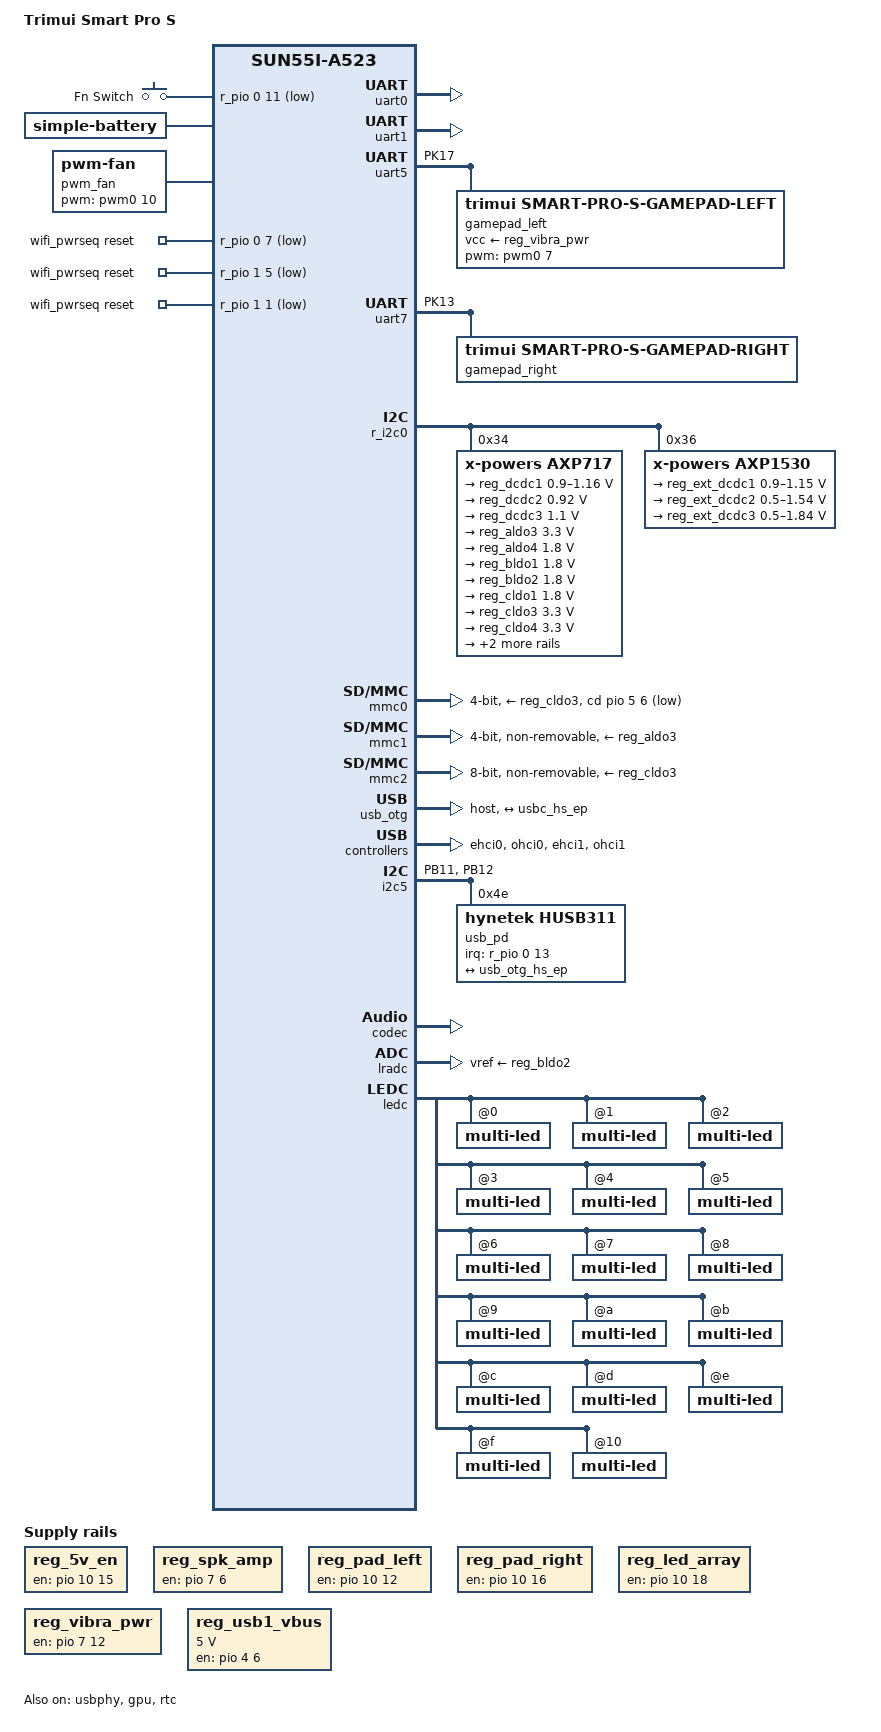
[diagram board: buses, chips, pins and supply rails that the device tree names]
// SPDX-License-Identifier: (GPL-2.0-only OR MIT)
// Copyright (C) 2026 Midgy BALON
/*
 * Trimui Smart Pro S handheld (board "A523-PRO2-AXP717C").
 * SoC: Allwinner A523 (sun55iw3p1). Base: mainline sun55i-a523.dtsi.
 *
 * WORK IN PROGRESS. Modeled on the upstream sun55i-t527-avaota-a1.dts (same SoC
 * family). Built with the display series in kernel/patches/ applied and
 * trimui-panel.dtsi appended (see kernel/build-trimui-kernel.sh).
 *
 * On board now: PMIC (axp717 @0x34 + axp1530 @0x36) + regulators, storage
 * (microSD/eMMC), USB2, RTC, LEDC RGB array, GPU (Mali-G57 / Panfrost, upstream),
 * MIPI-DSI panel + PWM backlight (via patches), fan + vibrator (PWM), audio codec,
 * LRADC side keys, WiFi/BT power sequencing (AIC8800D80, out-of-tree module), and
 * the gamepad UARTs (uart5/uart7 MCUs — the whole pad incl. sticks, read by the
 * trimui_inputd daemon; NOT GPADC, confirmed on HW). Still pending: USB3 (draft in
 * dts/staging/). See PORTING-NOTES.md and docs/ON-DEVICE-FINDINGS.md.
 *
 * "VERIFY" = needs confirmation by i2c/dump on real hardware before trusting.
 * Rail->consumer map is derived from the vendor DTB where known and otherwise
 * mirrors Avaota A1; the exact Trimui map must be read from the device.
 */

/dts-v1/;

#include "sun55i-a523.dtsi"

#include <dt-bindings/gpio/gpio.h>
#include <dt-bindings/input/input.h>
#include <dt-bindings/interrupt-controller/irq.h>
#include <dt-bindings/leds/common.h>
#include <dt-bindings/pwm/pwm.h>

/ {
	model = "Trimui Smart Pro S";
	/* T527 is the same die as A523; A523 is what mainline carries. */
	compatible = "trimui,smart-pro-s", "allwinner,sun55i-a523";

	aliases {
		serial0 = &uart0;
		mmc0 = &mmc0;	/* microSD */
		mmc1 = &mmc1;	/* WiFi SDIO */
		mmc2 = &mmc2;	/* eMMC */
	};

	chosen {
		stdout-path = "serial0:115200n8";
	};

	/*
	 * Fn switch — a 2-position slide switch on PL11 (the vendor's "dip-switch",
	 * gpio363; trimui_inputd reads it). Drives both levels cleanly: reads 1 in
	 * one position, 0 in the other (HW-verified 2026-09-25 via MMIO). Reported
	 * as KEY_FN, asserted in the low position. (Home/Vol± are LRADC side-keys;
	 * power is the AXP717 PEK — neither is here.)
	 */
	gpio-keys {
		compatible = "gpio-keys";

		fn-switch {
			label = "Fn Switch";
			linux,code = <KEY_FN>;
			gpios = <&r_pio 0 11 GPIO_ACTIVE_LOW>;
		};
	};

	/*
	 * LiPo pack, 5000 mAh. Values from the vendor DTB: battery-cap 0x1388 =
	 * 5000 mAh, init-chgvol 0x1068 = 4.2 V CV, runtime-chgcur 0x3e8 = 1 A
	 * (the vendor bumps to ~1.95 A in suspend/shutdown). The AXP717 has a
	 * hardware fuel gauge (E-gauge) that reports charge % directly, so mainline's
	 * axp717 battery driver reads SoC from hardware and consumes only the
	 * charge-current + voltage limits below — the vendor's 32-point OCV curve
	 * (pmu_bat_para1..32) is not needed by mainline (kept in FIRMWARE-FINDINGS).
	 * VERIFY the design-min and capacity against the device.
	 */
	battery: battery {
		compatible = "simple-battery";
		voltage-min-design-microvolt = <3400000>;		/* VERIFY */
		voltage-max-design-microvolt = <4200000>;		/* vendor CV = 4.2 V */
		constant-charge-current-max-microamp = <1000000>;	/* 1 A runtime */
		charge-full-design-microamp-hours = <5000000>;		/* 5000 mAh */
	};

	/*
	 * Active cooling fan on PWM0 channel 10 / PB6 (vendor: 40 us period,
	 * inverted, 32 levels). #cooling-cells lets a thermal zone bind it once
	 * the A523 THS series lands; usable as a manual cooling device until then.
	 * &pwm0 is enabled via trimui-panel.dtsi.
	 */
	pwm_fan: pwm-fan {
		compatible = "pwm-fan";
		pwms = <&pwm0 10 40000 PWM_POLARITY_INVERTED>;
		#cooling-cells = <2>;
		cooling-levels = <0 1 20 30 40 50 60 70 80 90 100 110 120
				  130 140 150 160 170 180 190 200 205 210
				  215 220 225 230 235 240 245 250 255>;
	};

	/* ★ Side-board / peripheral +5V master enable = PK15 (vendor runtrimui.sh
	 * "#5V enable", gpio335). This load-switch feeds the +5V rail shared by the
	 * two gamepad MCUs, the WS2812 LED array AND the fan. Without it all three are
	 * dead (LED ring dark, fan still, MCUs' 3.3V floats to ~1.6V = unpowered).
	 * Driving PK15 high via a fixed-reg (libgpiod EINVALs on &pio) brings all
	 * three alive. HW-verified: LEDs light, fan spins, MCUs stream at 9600 baud. */
	reg_5v_en: regulator-5v-en {
		compatible = "regulator-fixed";
		regulator-name = "sideboard-5v-en";
		gpio = <&pio 10 15 GPIO_ACTIVE_HIGH>;	/* PK15 */
		enable-active-high;
		regulator-always-on;
		regulator-boot-on;
	};

	/* Speaker power-amp enable = PH6 (active high). The codec card has no
	 * pa-gpios, so drive it always-on here to route Line Out -> the speaker. */
	reg_spk_amp: regulator-spk-amp {
		compatible = "regulator-fixed";
		regulator-name = "spk-amp-en";
		gpio = <&pio 7 6 GPIO_ACTIVE_HIGH>;	/* PH6 */
		enable-active-high;
		regulator-always-on;
		regulator-boot-on;
	};

	/* Gamepad MCU + LED-array power enables (vendor trimui_inputd drives these
	 * GPIOs high: PK12 = left pad, PK16 = right pad, PK18 = LED array). gpio-hogs
	 * are mis-parsed by this A523 pinctrl, so drive them via always-on fixed regs. */
	reg_pad_left: regulator-pad-left {
		compatible = "regulator-fixed";
		regulator-name = "leftpad-en";
		gpio = <&pio 10 12 GPIO_ACTIVE_HIGH>;	/* PK12 */
		enable-active-high;
		regulator-always-on;
		regulator-boot-on;
	};

	reg_pad_right: regulator-pad-right {
		compatible = "regulator-fixed";
		regulator-name = "rightpad-en";
		gpio = <&pio 10 16 GPIO_ACTIVE_HIGH>;	/* PK16 */
		enable-active-high;
		regulator-always-on;
		regulator-boot-on;
	};

	reg_led_array: regulator-led-array {
		compatible = "regulator-fixed";
		regulator-name = "ledarray-en";
		gpio = <&pio 10 18 GPIO_ACTIVE_HIGH>;	/* PK18 */
		enable-active-high;
		regulator-always-on;
		regulator-boot-on;
	};

	/* Vendor drives PH12 ("rumble motor") low at boot, high while rumbling.
	 * Model it as the motor's vcc-supply so the driver powers the motor only
	 * during playback (regulator_enable on start / disable on stop). The
	 * supply is consumed by the gamepad LEFT node (vcc-supply), which owns
	 * the rumble motor and exposes it as FF_RUMBLE on the pad.
	 * HW-verified: motor buzzes with PH12 as vcc + PWM0 ch7 (PK23). */
	reg_vibra_pwr: regulator-vibra-pwr {
		compatible = "regulator-fixed";
		regulator-name = "vibra-pwr";
		gpio = <&pio 7 12 GPIO_ACTIVE_HIGH>;	/* PH12 */
		enable-active-high;
	};

	/*
	 * VBUS switch for the "USB host" USB-C port (the plain host port, not the
	 * OTG/DP one). Drives the port's 5V; gated by the USB PHY for host port 1
	 * (ehci1/ohci1 = phys=<&usbphy 1>). HW-verified: a USB2 hub + keyboard
	 * enumerate on ehci1. The vendor keeps this rail always-on; here the phy
	 * enables it when the host port powers up.
	 */
	reg_usb1_vbus: regulator-usb1-vbus {
		compatible = "regulator-fixed";
		regulator-name = "usb1-vbus";
		regulator-min-microvolt = <5000000>;
		regulator-max-microvolt = <5000000>;
		regulator-enable-ramp-delay = <1000>;
		gpio = <&pio 4 6 GPIO_ACTIVE_HIGH>;	/* PE6 */
		enable-active-high;
	};

	/*
	 * AIC8800 WiFi power/reset sequencing for the mmc1 SDIO bus. The vendor
	 * sunxi-rfkill node drives THREE enables to bring the chip out of reset;
	 * driving only wlan_regon leaves it silent to CMD5 (HW-verified). All on
	 * R_PIO, ACTIVE_LOW so deassert (high) = enabled -> an off->on power cycle:
	 * power_en = PL7 (bank 0 pin 7), chip_en = PM5 (bank 1 pin 5), wlan_regon =
	 * PM1 (bank 1 pin 1). Chip needs the out-of-tree aic8800 module.
	 */
	wifi_pwrseq: wifi-pwrseq {
		compatible = "mmc-pwrseq-simple";
		reset-gpios = <&r_pio 0 7 GPIO_ACTIVE_LOW>,	/* PL7 power_en */
			      <&r_pio 1 5 GPIO_ACTIVE_LOW>,	/* PM5 chip_en */
			      <&r_pio 1 1 GPIO_ACTIVE_LOW>;	/* PM1 wlan_regon */
		post-power-on-delay-ms = <200>;
	};
};

&uart0 {
	pinctrl-names = "default";
	pinctrl-0 = <&uart0_pb_pins>;
	status = "okay";
};

/*
 * UART1 (PG6-PG9, with RTS/CTS) = AIC8800 Bluetooth HCI. The BT side needs the
 * out-of-tree aic8800 module; control lines are on R_PIO Port M: bt_rst_n = PM2,
 * bt_wake = PM3, bt_hostwake = PM4.
 */
&uart1 {
	pinctrl-names = "default";
	pinctrl-0 = <&uart1_pins>, <&uart1_rts_cts_pins>;
	uart-has-rtscts;
	status = "okay";
};

/*
 * Gamepad MCU serial links (RX-only, single wire each): uart5 = PK17 (LEFT half),
 * uart7 = PK13 (RIGHT half). Two 19200-baud MCUs stream the whole pad
 * (D-pad/ABXY/L-R/L2-R2/sticks/L3-R3/rumble); each fills its own half of the
 * frame. The gamepad-trimui-smart-pro-s serdev driver binds both child nodes and
 * merges them into one virtual Xbox 360 pad (045e:028e "TRIMUI Player1"), as the
 * vendor trimui_inputd daemon did. Once the driver binds, /dev/ttyASx for these
 * ports disappear (they become serdev buses) — that is expected.
 * Verified on HW 2026-08-18: MCUs stream after the PK15 side-board +5V enable.
 */
&uart5 {
	pinctrl-names = "default";
	pinctrl-0 = <&uart5_pk17_pin>;
	status = "okay";

	gamepad_left: gamepad {
		compatible = "trimui,smart-pro-s-gamepad-left";
		current-speed = <19200>;

		/*
		 * The rumble motor belongs to the pad: the gamepad driver
		 * exposes FF_RUMBLE on the merged input device and drives this
		 * PWM (+ GPIO-gated supply) directly. Modelled on the vendor
		 * pwm-vibrator (PWM0 ch7, 50 us period; PH12 gates the motor
		 * supply). The LEFT node owns it; there is one motor.
		 */
		pwms = <&pwm0 7 50000 0>;
		vcc-supply = <&reg_vibra_pwr>;
	};
};

&uart7 {
	pinctrl-names = "default";
	pinctrl-0 = <&uart7_pk13_pin>;
	status = "okay";

	gamepad_right: gamepad {
		compatible = "trimui,smart-pro-s-gamepad-right";
		current-speed = <19200>;
	};
};

/*
 * Reduced-I2C bus: main PMIC lives here (vendor "pmu@34" on s_twi0 = r_i2c0).
 * CONFIRMED ON HARDWARE 2026-07-22: kernel probes "AXP20x variant AXP2202" @0x34;
 * silk = AXP717C; vendor driver = axp2202 — all the same PMIC. Mainline drives it
 * as `x-powers,axp717` (every upstream sun55i board — cubie-a5e / avaota-a1 /
 * orangepi-4a — uses axp717), so that is correct here too.
 */
&r_i2c0 {
	pinctrl-names = "default";
	pinctrl-0 = <&r_i2c_pins>;
	status = "okay";

	axp717: pmic@34 {
		compatible = "x-powers,axp717";	/* = the AXP2202/AXP717C on this board (confirmed) */
		reg = <0x34>;
		interrupt-controller;
		#interrupt-cells = <1>;
		interrupt-parent = <&nmi_intc>;
		interrupts = <0 IRQ_TYPE_LEVEL_LOW>;

		axp717_adc: adc {
			compatible = "x-powers,axp717-adc";
			#io-channel-cells = <1>;
		};

		battery-power {
			compatible = "x-powers,axp717-battery-power-supply";
			monitored-battery = <&battery>;
		};

		usb-power {
			compatible = "x-powers,axp717-usb-power-supply";
		};

		regulators {
			/* dcdc1: CPU "little" cluster (vendor cpu-supply = dcdc1). */
			reg_dcdc1: dcdc1 {
				regulator-always-on;
				regulator-min-microvolt = <900000>;
				regulator-max-microvolt = <1160000>;
				regulator-name = "vdd-cpu";
			};

			reg_dcdc2: dcdc2 {
				regulator-always-on;
				regulator-min-microvolt = <920000>;
				regulator-max-microvolt = <920000>;
				regulator-name = "vdd-gpu-sys";	/* VERIFY */
			};

			/*
			 * LPDDR4 VCC-DRAM. Datasheet Table 6-2 (Recommended
			 * Operating Conditions): 1.06 / 1.10 / 1.17 V. Use 1.10 V
			 * typ — earlier 1.16 V was wrong (copied from the CPU rail,
			 * no margin). Confirm via AXP2202 DCDC3 i2c read on HW.
			 * See uboot/DRAM-VALIDATION.md.
			 */
			reg_dcdc3: dcdc3 {
				regulator-always-on;
				regulator-min-microvolt = <1100000>;
				regulator-max-microvolt = <1100000>;
				regulator-name = "vdd-dram";
			};

			reg_dcdc4: dcdc4 {
				/*
				 * Live capture 2026-07-26: DCDC4 = 1.0 V and
				 * DISABLED on the vendor kernel. The earlier
				 * "vdd-io 3.3 V always-on" was a wrong guess — it is
				 * an unused rail here. Leave unconfigured (off).
				 */
			};

			reg_aldo1: aldo1 {
				/* VERIFY connection */
			};

			reg_aldo2: aldo2 {
				/* VERIFY connection */
			};

			/* aldo3: WiFi 3.3V (vendor wlan_power[0] = aldo3 @ 3.3V). */
			reg_aldo3: aldo3 {
				regulator-always-on;
				regulator-min-microvolt = <3300000>;
				regulator-max-microvolt = <3300000>;
				regulator-name = "vcc-wifi-3v3";	/* VERIFY */
			};

			reg_aldo4: aldo4 {
				regulator-always-on;
				regulator-min-microvolt = <1800000>;
				regulator-max-microvolt = <1800000>;
				regulator-name = "vcc-pll-avcc";	/* VERIFY */
			};

			/* bldo1: WiFi 1.8V (vendor wlan_power[1] = bldo1 @ 1.8V). */
			reg_bldo1: bldo1 {
				regulator-always-on;	/* AIC8800 core/RF 1.8V rail (kept powered) */
				regulator-min-microvolt = <1800000>;
				regulator-max-microvolt = <1800000>;
				regulator-name = "vcc-wifi-1v8";	/* VERIFY */
			};

			/* bldo2: 1.8V, vendor keeps on (wlan_power[2]). */
			reg_bldo2: bldo2 {
				regulator-always-on;
				regulator-min-microvolt = <1800000>;
				regulator-max-microvolt = <1800000>;
				regulator-name = "vcc-1v8";	/* VERIFY */
			};

			reg_bldo3: bldo3 {
				/* VERIFY connection */
			};

			reg_bldo4: bldo4 {
				/* VERIFY connection */
			};

			reg_cldo1: cldo1 {
				regulator-min-microvolt = <1800000>;
				regulator-max-microvolt = <1800000>;
				regulator-name = "vcc-1v8-io";	/* VERIFY (mmc vqmmc) */
			};

			reg_cldo2: cldo2 {
				/* VERIFY connection */
			};

			reg_cldo3: cldo3 {
				regulator-min-microvolt = <3300000>;
				regulator-max-microvolt = <3300000>;
				regulator-name = "vcc-3v3-io-mmc";	/* VERIFY (mmc vmmc) */
			};

			reg_cldo4: cldo4 {
				/* panel power0: vendor live dump = 3.3V (05-regulators.txt,
				 * ON-DEVICE-FINDINGS). Was UNCONSTRAINED -> panel power0 at an
				 * undefined voltage (thermal-suspect for the hot display IC). */
				regulator-min-microvolt = <3300000>;
				regulator-max-microvolt = <3300000>;
				regulator-name = "panel-power0-3v3";
			};

			reg_cpusldo: cpusldo {
				regulator-always-on;
				regulator-min-microvolt = <900000>;
				regulator-max-microvolt = <900000>;
				regulator-name = "vdd-cpus";
			};

			/* AXP2202 5V boost. Kept on for the board 5V rail (USB-host
			 * VBUS); note HW testing showed it is NOT what powers the fan
			 * / gamepad MCUs / LED array (those stay dark/silent with it on
			 * -> board-level enable/level still unresolved). Harmless if on. */
			reg_boost: boost {
				regulator-name = "boost-5v";
				regulator-min-microvolt = <4550000>;
				regulator-max-microvolt = <5510000>;
				regulator-always-on;
				regulator-boot-on;
			};
		};
	};

	/*
	 * External "big" cluster CPU supply = AXP1530 buck PMIC @ 0x36 (vendor
	 * cpu-supply for cluster1 / cpu4-7). CONFIRMED ON HARDWARE 2026-07-22
	 * (docs/ON-DEVICE-FINDINGS.md): the r_i2c0 (i2c-6) scan shows 0x34 (axp717)
	 * and 0x36 (axp1530) driver-bound; 0x41 is ABSENT. The board has three
	 * CPU-buck footprints (tcs@41 / sy@60 / axp1530@36) and only axp1530 is
	 * populated — so our earlier tcs4838 (patch 0014) was the wrong chip.
	 * axp1530 is already mainline (x-powers,axp1530 in axp20x). dcdc1 = the
	 * big-core rail; dcdc2/dcdc3 are live vendor rails kept always-on. Voltages
	 * capped by the big-cluster OPP ladder (dts/staging/trimui-cpu-opp.dtsi).
	 */
	axp1530: pmic@36 {
		compatible = "x-powers,axp1530";
		reg = <0x36>;

		regulators {
			reg_ext_dcdc1: dcdc1 {
				regulator-name = "vdd-cpu-big";
				regulator-min-microvolt = <900000>;
				regulator-max-microvolt = <1150000>;	/* nominal ceiling; raise for turbo OPPs */
				regulator-boot-on;
				regulator-always-on;
			};

			reg_ext_dcdc2: dcdc2 {
				regulator-name = "axp1530-dcdc2";
				regulator-min-microvolt = <500000>;
				regulator-max-microvolt = <1540000>;
				regulator-always-on;
			};

			reg_ext_dcdc3: dcdc3 {
				regulator-name = "axp1530-dcdc3";
				regulator-min-microvolt = <500000>;
				regulator-max-microvolt = <1840000>;
				regulator-always-on;
			};
		};
	};
};

/* microSD */
&mmc0 {
	pinctrl-names = "default";
	pinctrl-0 = <&mmc0_pins>;
	bus-width = <4>;
	cd-gpios = <&pio 5 6 GPIO_ACTIVE_LOW>;	/* PF6 */
	vmmc-supply = <&reg_cldo3>;	/* VERIFY */
	vqmmc-supply = <&reg_cldo1>;	/* VERIFY */
	cap-sd-highspeed;
	status = "okay";
};

/* WiFi over SDIO (vendor wlan_busnum = 1). Chip unidentified -> no child yet. */
&mmc1 {
	/* Force SDIO default speed: the SoC dtsi advertises cap-sd-highspeed, but
	 * the A523 sunxi-mmc HS read sample-phase is uncalibrated (RD DCE). Delete
	 * it so the bus stays at 25 MHz default speed (reads cleanly). See below. */
	/delete-property/ cap-sd-highspeed;
	pinctrl-names = "default";
	pinctrl-0 = <&mmc1_pins>;
	bus-width = <4>;
	non-removable;
	vmmc-supply = <&reg_aldo3>;	/* 3.3V (vendor) */
	vqmmc-supply = <&reg_aldo3>;	/* 3.3V: AIC8800 SDIO signals at 3.3V */
	no-1-8-v;			/* lock 3.3V signalling (no 1.8V UHS switch) */
	mmc-pwrseq = <&wifi_pwrseq>;
	keep-power-in-suspend;
	/* AIC8800 SDIO: match vendor sdc1 — SDIO-only + SDIO IRQ. */
	no-mmc;
	no-sd;
	cap-sdio-irq;
	/*
	 * WORKAROUND: SDIO at 25 MHz default speed. The A523 sunxi-mmc read
	 * sample-phase is uncalibrated for high speed, so UHS/HS data reads
	 * CRC-fail (RD DCE); default speed reads cleanly. TODO: port the A523
	 * mmc sample-delay to restore SDR50/104 (up to 208 MHz).
	 */
	max-frequency = <25000000>;
	/*
	 * Chip = AIC8800 (firmware-confirmed), driven by the out-of-tree aic8800
	 * SDIO module which probes the function automatically, so no wifi@1 child
	 * with a mainline compatible. Vendor control lines on R_PIO Port M:
	 * wlan_hostwake = PM0, chip_en = PM5 (wlan_regon = PM1 -> wifi_pwrseq).
	 */
	status = "okay";
};

/* eMMC */
&mmc2 {
	pinctrl-names = "default";
	pinctrl-0 = <&mmc2_pins>;
	bus-width = <8>;
	non-removable;
	cap-mmc-highspeed;
	mmc-ddr-1_8v;
	mmc-hs200-1_8v;
	mmc-hs400-1_8v;
	vmmc-supply = <&reg_cldo3>;	/* 3.3V VERIFY */
	vqmmc-supply = <&reg_cldo1>;	/* 1.8V VERIFY */
	status = "okay";
};

/*
 * CPU idle states (PSCI) — WFI cpu-sleep + cluster power-down, for battery life.
 * Latencies/residencies transcribed from the vendor DTB; VERIFY on hardware.
 */
/ {
	cpus {
		idle-states {
			entry-method = "psci";

			cpu_sleep: cpu-sleep {
				compatible = "arm,idle-state";
				arm,psci-suspend-param = <0x00010000>;
				local-timer-stop;
				entry-latency-us = <46>;
				exit-latency-us = <59>;
				min-residency-us = <3570>;
			};

			cluster_sleep: cluster-sleep {
				compatible = "arm,idle-state";
				arm,psci-suspend-param = <0x01010000>;
				local-timer-stop;
				entry-latency-us = <47>;
				exit-latency-us = <74>;
				min-residency-us = <5000>;
			};
		};
	};
};

&cpu0 { cpu-idle-states = <&cpu_sleep &cluster_sleep>; };
&cpu1 { cpu-idle-states = <&cpu_sleep &cluster_sleep>; };
&cpu2 { cpu-idle-states = <&cpu_sleep &cluster_sleep>; };
&cpu3 { cpu-idle-states = <&cpu_sleep &cluster_sleep>; };
&cpu4 { cpu-idle-states = <&cpu_sleep &cluster_sleep>; };
&cpu5 { cpu-idle-states = <&cpu_sleep &cluster_sleep>; };
&cpu6 { cpu-idle-states = <&cpu_sleep &cluster_sleep>; };
&cpu7 { cpu-idle-states = <&cpu_sleep &cluster_sleep>; };

/* USB */
&usb_otg {
	/*
	 * The external "usb/dp" USB-C is the DATA/host port (charging + DP-altmode
	 * video are on the SECOND USB-C). Force HOST: the port always enumerates
	 * USB devices (keyboard/mouse/storage/hub) and never acts as a gadget.
	 * (Was dr_mode="otg" + usb-role-switch, but the husb311 Type-C PD fails to
	 * probe on HW so the role-switch never fired -> host was stuck/flaky.
	 * Forcing host removes that dependency; husb311 is kept for future PD/DP.)
	 */
	dr_mode = "host";
	status = "okay";

	port {
		usb_otg_hs_ep: endpoint {
			remote-endpoint = <&usbc_hs_ep>;
		};
	};
};

&usbphy {
	/*
	 * Source VBUS for host mode from the always-on AXP2202 5V boost (the board
	 * routes it to the OTG VBUS; mainline has no AXP717 drivevbus regulator).
	 * Without a real supply the phy logs "dummy supplies not allowed for
	 * exclusive requests (id=vbus)" and host VBUS is marginal.
	 */
	usb0_vbus-supply = <&reg_boost>;
	/* Host port 1 ("USB host" USB-C) VBUS switch on PE6 (HW-verified). */
	usb1_vbus-supply = <&reg_usb1_vbus>;
	status = "okay";
};

&ehci0 {
	status = "okay";
};

&ohci0 {
	status = "okay";
};

/* Internal host bus - one port carries the gamepad MCU (buttons over USB). */
&ehci1 {
	status = "okay";
};

&ohci1 {
	status = "okay";
};

/*
 * USB-C Type-C port controller on the "usb/dp" port. husb311 (Hynetek) is
 * register-compatible with the Richtek RT1711H. It negotiates USB-PD (charging)
 * and drives the OTG data-role switch (usb-role-switch on &usb_otg, via the
 * sunxi musb role-switch support) so the port can host adapters as well as
 * charge / act as a gadget. VERIFY on hardware: bus/pins (i2c5 = PB11/PB12),
 * ALERT irq (PL13), the PDOs, and a vbus-supply (an AXP drive-vbus rail) if
 * bus-powered host peripherals (keyboard/mouse) are to be powered.
 */
&i2c5 {
	pinctrl-names = "default";
	pinctrl-0 = <&i2c5_pb_pins>;
	status = "okay";

	usb_pd: usb-pd@4e {
		compatible = "hynetek,husb311", "richtek,rt1711h";
		reg = <0x4e>;
		interrupt-parent = <&r_pio>;
		interrupts = <0 13 IRQ_TYPE_LEVEL_LOW>;	/* PL13, active-low ALERT */
		wakeup-source;

		connector {
			compatible = "usb-c-connector";
			label = "usb/dp";
			power-role = "dual";
			data-role = "dual";
			try-power-role = "source";
			op-sink-microwatt = <1000000>;
			/* PDOs transcribed from the vendor DTB — VERIFY on hardware. */
			sink-pdos = <0x220190c8 0x864190c8>;
			source-pdos = <0x22019032 0x86419078>;

			ports {
				#address-cells = <1>;
				#size-cells = <0>;

				port@0 {
					reg = <0>;
					usbc_hs_ep: endpoint {
						remote-endpoint = <&usb_otg_hs_ep>;
					};
				};
			};
		};
	};
};

&pio {
	/* A523 pin I/O withstand: feed the mmc bank supplies so the pinctrl sets
	 * 1.8V mode on PortC (eMMC) + PortG (WiFi SDIO). Pairs with the A523
	 * CTL_INV withstand fix (kernel patch 0032). Cubie-A5E pattern. */
	vcc-pc-supply = <&reg_cldo1>;	/* eMMC mmc2 I/O 1.8V */
	vcc-pg-supply = <&reg_aldo3>;	/* WiFi PortG I/O 3.3V (AIC8800 3.3V SDIO) */
	i2c5_pb_pins: i2c5-pb-pins {
		pins = "PB11", "PB12";	/* TWI5-SCK / TWI5-SDA */
		allwinner,pinmux = <2>;
		function = "i2c5";
	};

	/* Gamepad MCU serial links, RX-only single-wire (one pin each). */
	uart5_pk17_pin: uart5-pk17-pin {
		pins = "PK17";
		function = "uart5";	/* PK17 Function4 = UART5-RX */
		allwinner,pinmux = <4>;
	};

	uart7_pk13_pin: uart7-pk13-pin {
		pins = "PK13";
		function = "uart7";	/* PK13 Function3 = UART7-RX */
		allwinner,pinmux = <3>;
	};
};

/*
 * Mali-G57 (Valhall, Job-Manager) — Panfrost. Node, binding and driver are all
 * upstream; the board only enables it and supplies the rail. mali-supply =
 * AXP2202 dcdc2 (resolved from the vendor DTB; a shared GPU+VE rail). See
 * docs/GPU-NOTES.md.
 */
&gpu {
	mali-supply = <&reg_dcdc2>;
	status = "okay";
};

/*
 * Internal audio codec (driver sun55i-codec; node in sun55i-a523.dtsi). avcc =
 * analog 1.8 V = AXP2202 aldo4 (vendor avcc-supply). Speaker amp enable = PH6
 * (active high). The routing mirrors the vendor card: DAC -> line-out/HP pins,
 * speaker fed from the line-out pins, mics -> ADCs. Jack/HMIC detect is WIP
 * (see docs/AUDIO-CODEC-NOTES.md).
 */
&codec {
	/*
	 * Card wired for Chen-Yu Tsai's upstream sun4i-codec A523 variant, which
	 * parses the card from the GENERIC "widgets"/"audio-routing" on this node
	 * (not the old allwinner,* names our previous standalone driver used).
	 * Speaker is driven from LINEOUT, headphone from HP, mic on MIC1 (matches
	 * the vendor topology). avcc = analog 1.8 V (AXP2202 aldo4).
	 */
	widgets = "Speaker", "Speaker",
		  "Headphone", "Headphone",
		  "Microphone", "Mic";
	audio-routing = "Speaker", "LINEOUT",
			"Headphone", "HP",
			"MIC1", "Mic";
	avcc-supply = <&reg_aldo4>;
	status = "okay";
};

/*
 * Speaker power-amp enable = PH6 (active high). Chen-Yu's codec card has no
 * pa-gpios / aux-amplifier support yet, and a gpio-hog child under &pio fails
 * (this A523 pinctrl parses every &pio child as a pinmux group -> -22, killing
 * gpiochip0), so the enable is driven via the always-on reg_spk_amp fixed-reg
 * (see the / node). TODO (feedback to the codec author): add pa-gpios (or a
 * simple-audio-amplifier aux-dev) so this becomes a DAPM-gated, power-aware
 * enable instead of an always-on regulator.
 * NB: PH6 is driven, but analog output is still silent (separate codec-driver
 * gap) — see docs/AUDIO-CODEC-NOTES.md.
 */

/*
 * Side keys on LRADC (vendor "keyboard_1350mv", 3 keys). The per-key voltages
 * and keycodes are transcribed from the vendor DTB (key0/1/2 = <voltage_mV
 * keycode>): 410 mV / KEY_HOMEPAGE, 646 mV / KEY_VOLUMEUP, 900 mV /
 * KEY_VOLUMEDOWN. So these are the vendor's measured thresholds, not guesses —
 * confirm on HW with evtest. If a key doesn't fire, mainline's r329-LRADC scale
 * differs from the vendor 1350 mV reference: read the driver's measured voltage
 * (temporary dev_info in sun4i-lradc-keys.c) and/or fix vref-supply. See the
 * "LRADC keys" step in docs/HARDWARE-BRINGUP.md.
 */
&lradc {
	vref-supply = <&reg_bldo2>;	/* 1.8V VERIFY (LRADC reference rail) */
	status = "okay";

	button-410 {
		label = "Home";
		linux,code = <KEY_HOMEPAGE>;
		channel = <0>;
		voltage = <410000>;	/* vendor key0; confirm on HW */
	};

	button-646 {
		label = "Volume Up";
		linux,code = <KEY_VOLUMEUP>;
		channel = <0>;
		voltage = <646000>;	/* vendor key1; confirm on HW */
	};

	button-900 {
		label = "Volume Down";
		linux,code = <KEY_VOLUMEDOWN>;
		channel = <0>;
		voltage = <900000>;	/* vendor key2; confirm on HW */
	};
};

/*
 * NO analog sticks on the GPADC. CONFIRMED ON HARDWARE 2026-07-22
 * (docs/ON-DEVICE-FINDINGS.md): the whole gamepad — buttons, D-pad, both sticks
 * (ABS_X/Y/RX/RY) and analog L2/R2 (ABS_Z/RZ) — comes from two serial MCUs on
 * uart5/uart7, read by the `trimui_inputd` daemon and exposed as the `js0`
 * "TRIMUI Player1" uinput device. `trimui_inputd` holds no GPADC fd. So the
 * earlier adc-joystick + 2nd-GPADC (patch 0012) approach was wrong and is
 * dropped; the SoC GPADC (adc@2009000) is left in its upstream default (its
 * on-board use, if any, is unconfirmed). The gamepad path is uart5 + uart7
 * (enabled below) + the daemon/serdev; see the gamepad section.
 */

&rtc {
	status = "okay";
};

/*
 * Addressable RGB LED array (17 LEDs, WS2812-style) on the LEDC controller,
 * data on PH19. The LEDC node + driver landed in mainline v7.1
 * (allwinner,sun55i-a523-ledc -> sun50i-a100-ledc). Vendor DTB: led_count=17,
 * output_mode="RGB". pixel-format defaults to grb (WS2812); flip on HW if colours
 * are swapped. VERIFY count/order against the device.
 */
&ledc {
	pinctrl-names = "default";
	pinctrl-0 = <&ledc_ph_pin>;
	status = "okay";

	multi-led@0 {
		reg = <0x0>;
		color = <LED_COLOR_ID_RGB>;
		function = LED_FUNCTION_INDICATOR;
		function-enumerator = <0>;
	};
	multi-led@1 {
		reg = <0x1>;
		color = <LED_COLOR_ID_RGB>;
		function = LED_FUNCTION_INDICATOR;
		function-enumerator = <1>;
	};
	multi-led@2 {
		reg = <0x2>;
		color = <LED_COLOR_ID_RGB>;
		function = LED_FUNCTION_INDICATOR;
		function-enumerator = <2>;
	};
	multi-led@3 {
		reg = <0x3>;
		color = <LED_COLOR_ID_RGB>;
		function = LED_FUNCTION_INDICATOR;
		function-enumerator = <3>;
	};
	multi-led@4 {
		reg = <0x4>;
		color = <LED_COLOR_ID_RGB>;
		function = LED_FUNCTION_INDICATOR;
		function-enumerator = <4>;
	};
	multi-led@5 {
		reg = <0x5>;
		color = <LED_COLOR_ID_RGB>;
		function = LED_FUNCTION_INDICATOR;
		function-enumerator = <5>;
	};
	multi-led@6 {
		reg = <0x6>;
		color = <LED_COLOR_ID_RGB>;
		function = LED_FUNCTION_INDICATOR;
		function-enumerator = <6>;
	};
	multi-led@7 {
		reg = <0x7>;
		color = <LED_COLOR_ID_RGB>;
		function = LED_FUNCTION_INDICATOR;
		function-enumerator = <7>;
	};
	multi-led@8 {
		reg = <0x8>;
		color = <LED_COLOR_ID_RGB>;
		function = LED_FUNCTION_INDICATOR;
		function-enumerator = <8>;
	};
	multi-led@9 {
		reg = <0x9>;
		color = <LED_COLOR_ID_RGB>;
		function = LED_FUNCTION_INDICATOR;
		function-enumerator = <9>;
	};
	multi-led@a {
		reg = <0xa>;
		color = <LED_COLOR_ID_RGB>;
		function = LED_FUNCTION_INDICATOR;
		function-enumerator = <10>;
	};
	multi-led@b {
		reg = <0xb>;
		color = <LED_COLOR_ID_RGB>;
		function = LED_FUNCTION_INDICATOR;
		function-enumerator = <11>;
	};
	multi-led@c {
		reg = <0xc>;
		color = <LED_COLOR_ID_RGB>;
		function = LED_FUNCTION_INDICATOR;
		function-enumerator = <12>;
	};
	multi-led@d {
		reg = <0xd>;
		color = <LED_COLOR_ID_RGB>;
		function = LED_FUNCTION_INDICATOR;
		function-enumerator = <13>;
	};
	multi-led@e {
		reg = <0xe>;
		color = <LED_COLOR_ID_RGB>;
		function = LED_FUNCTION_INDICATOR;
		function-enumerator = <14>;
	};
	multi-led@f {
		reg = <0xf>;
		color = <LED_COLOR_ID_RGB>;
		function = LED_FUNCTION_INDICATOR;
		function-enumerator = <15>;
	};
	multi-led@10 {
		reg = <0x10>;
		color = <LED_COLOR_ID_RGB>;
		function = LED_FUNCTION_INDICATOR;
		function-enumerator = <16>;
	};
};

#include "trimui-de-reconcile.dtsi"
#include "trimui-panel.dtsi"
#include "trimui-thermal.dtsi"

